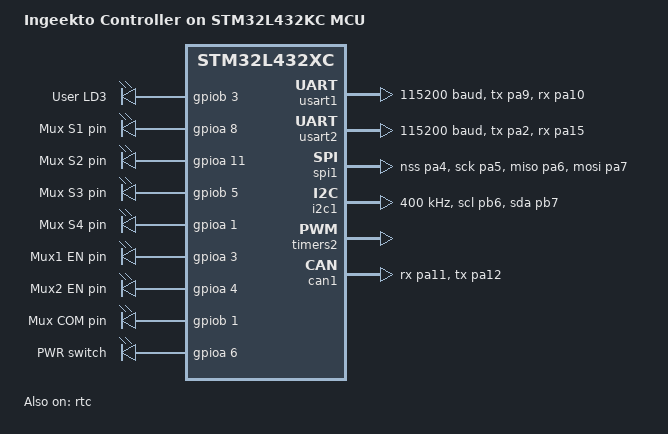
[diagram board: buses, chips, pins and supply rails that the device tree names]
/*
 * Copyright (c) 2017 Linaro Limited
 *
 * SPDX-License-Identifier: Apache-2.0
 */

/dts-v1/;
#include <st/l4/stm32l432Xc.dtsi>
#include <st/l4/stm32l432k(b-c)ux-pinctrl.dtsi>

/ {
	model = "Ingeekto Controller on STM32L432KC MCU";
	compatible = "ingeekto,controller_l432kc";

	chosen {
		zephyr,console = &usart2;
		zephyr,shell-uart = &usart2;
		zephyr,sram = &sram0;
		zephyr,flash = &flash0;
		zephyr,canbus = &can1;
	};

	leds: leds {
		compatible = "gpio-leds";
		green_led: led_0 {
			gpios = <&gpiob 3 GPIO_ACTIVE_HIGH>;
			label = "User LD3";
		};
	};

	muxes: muxes {
		compatible = "gpio-leds";
		mux_S1: mux_s1 {
			gpios = <&gpioa 8 GPIO_ACTIVE_HIGH>;
			label = "Mux S1 pin";
		};
		mux_S2: mux_s2 {
			gpios = <&gpioa 11 GPIO_ACTIVE_HIGH>;
			label = "Mux S2 pin";
		};
		mux_S3: mux_s3 {
			gpios = <&gpiob 5 GPIO_ACTIVE_HIGH>;
			label = "Mux S3 pin";
		};
		mux_S4: mux_s4 {
			gpios = <&gpioa 1 GPIO_ACTIVE_HIGH>;
			label = "Mux S4 pin";
		};
		mux_EN1: mux_en1 {
			gpios = <&gpioa 3 GPIO_ACTIVE_HIGH>;
			label = "Mux1 EN pin";
		};
		mux_EN2: mux_en2 {
			gpios = <&gpioa 4 GPIO_ACTIVE_HIGH>;
			label = "Mux2 EN pin";
		};
		mux_COM: mux_com {
			gpios = <&gpiob 1 GPIO_ACTIVE_HIGH>;
			label = "Mux COM pin";
		};
	};

	utils: utils {
		compatible = "gpio-leds";
		pwr_SW: pwr_sw {
			gpios = <&gpioa 6 GPIO_ACTIVE_HIGH>;
			label = "PWR switch";
		};
	};

	aliases {
		led0 = &green_led;
		ctrlmuxs1 = &mux_S1;
		ctrlmuxs2 = &mux_S2;
		ctrlmuxs3 = &mux_S3;
		ctrlmuxs4 = &mux_S4;
		ctrlmuxen1 = &mux_EN1;
		ctrlmuxen2 = &mux_EN2;
		ctrlmuxcom = &mux_COM;
		pwrsw = &pwr_SW;
	};
};

&clk_lsi {
	status = "okay";
};

&clk_hsi {
	status = "okay";
};

&pll {
	div-m = <1>;
	mul-n = <20>;
	div-p = <7>;
	div-q = <2>;
	div-r = <4>;
	clocks = <&clk_hsi>;
	status = "okay";
};

&rcc {
	clocks = <&pll>;
	clock-frequency = <DT_FREQ_M(80)>;
	ahb-prescaler = <1>;
	apb1-prescaler = <1>;
	apb2-prescaler = <1>;
};

&usart1 {
	pinctrl-0 = <&usart1_tx_pa9 &usart1_rx_pa10>;
	pinctrl-names = "default";
	current-speed = <115200>;
};

&usart2 {
	pinctrl-0 = <&usart2_tx_pa2 &usart2_rx_pa15>;
	pinctrl-names = "default";
	current-speed = <115200>;
	status = "okay";
};

&spi1 {
	pinctrl-0 = <&spi1_nss_pa4 &spi1_sck_pa5
		     &spi1_miso_pa6 &spi1_mosi_pa7>;
	pinctrl-names = "default";
	status = "okay";
};

&i2c1 {
	pinctrl-0 = <&i2c1_scl_pb6 &i2c1_sda_pb7>;
	pinctrl-names = "default";
	clock-frequency = <I2C_BITRATE_FAST>;
	status = "okay";
};

&timers2 {
	status = "okay";

	pwm2: pwm {
		status = "okay";
		pinctrl-0 = <&tim2_ch1_pa0>;
		pinctrl-names = "default";
	};
};

&can1 {
	pinctrl-0 = <&can1_rx_pa11 &can1_tx_pa12>;
	pinctrl-names = "default";
	status = "okay";
};

&rtc {
	clocks = <&rcc STM32_CLOCK_BUS_APB1 0x10000000>,
		 <&rcc STM32_SRC_LSI RTC_SEL(2)>;
	status = "okay";
};

&flash0 {
	partitions {
		compatible = "fixed-partitions";
		#address-cells = <1>;
		#size-cells = <1>;

		/*
		 * Reserve the final 16 KiB for file system partition
		 */
		storage_partition: partition@3c000 {
			label = "storage";
			reg = <0x0003c000 DT_SIZE_K(16)>;
		};
	};
};
